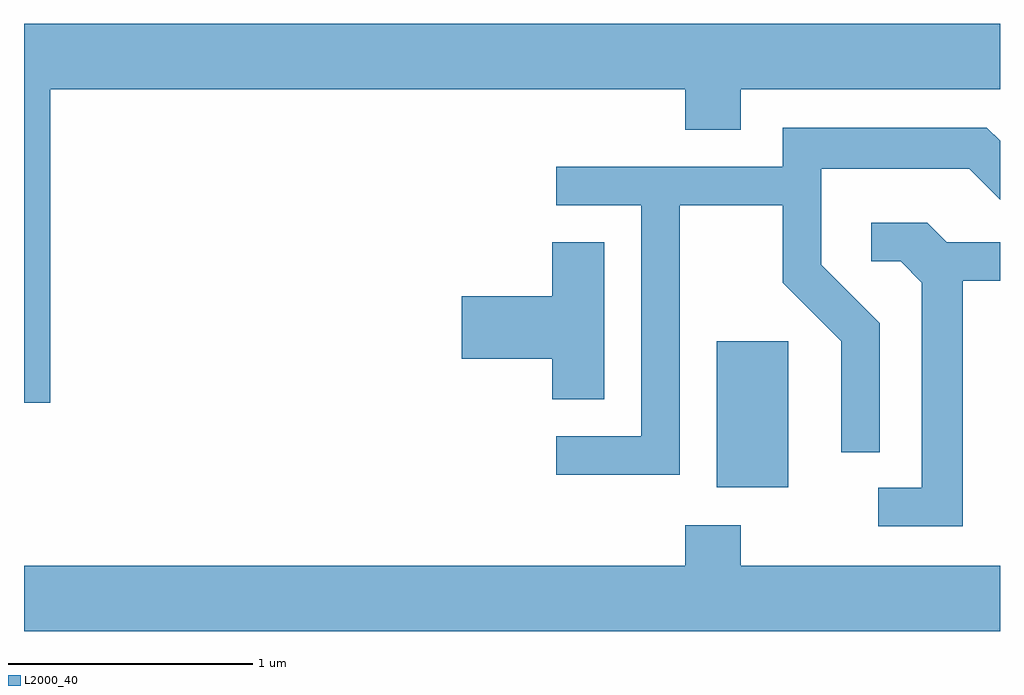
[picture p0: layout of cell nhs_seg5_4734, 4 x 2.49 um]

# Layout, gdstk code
import gdstk
lib = gdstk.Library(unit=1e-6, precision=1e-09)
def R(c, l, rs):  # rectangles x0, y0, x1, y1
    for r in rs: c.add(gdstk.rectangle(r[:2], r[2:], *l))
def P(c, l, *ps):  # polygons
    for p in ps: c.add(gdstk.Polygon(p, *l))
L2000_40 = (2000, 40)

nhs_seg5_4734 = lib.new_cell('nhs_seg5_4734')
R(nhs_seg5_4734, L2000_40, [(328.451,1459.606,328.744,1460.204)])
P(nhs_seg5_4734, L2000_40, [(325.719,1461.236),(328.321,1461.236),(328.321,1461.071),(328.549,1461.071),(328.549,1461.236),(329.611,1461.236),(329.611,1461.504),(325.611,1461.504),(325.611,1459.951),(325.719,1459.951)],
  [(328.299,1460.761),(328.721,1460.761),(328.721,1460.444),(328.961,1460.204),(328.961,1459.748),(329.119,1459.748),(329.119,1460.277),(328.879,1460.517),(328.879,1460.911),(329.484,1460.911),(329.611,1460.784),(329.611,1461.025),(329.557,1461.079),(328.721,1461.079),(328.721,1460.919),(327.793,1460.919),(327.793,1460.761),(328.141,1460.761),(328.141,1459.814),(327.793,1459.814),(327.793,1459.656),(328.299,1459.656)],
  [(329.459,1460.451),(329.611,1460.451),(329.611,1460.609),(329.392,1460.609),(329.312,1460.689),(329.083,1460.689),(329.083,1460.531),(329.204,1460.531),(329.291,1460.444),(329.291,1459.604),(329.113,1459.604),(329.113,1459.446),(329.459,1459.446)],
  [(327.989,1460.609),(327.776,1460.609),(327.776,1460.389),(327.406,1460.389),(327.406,1460.131),(327.776,1460.131),(327.776,1459.966),(327.989,1459.966)],
  [(329.611,1459.284),(328.549,1459.284),(328.549,1459.449),(328.321,1459.449),(328.321,1459.284),(325.611,1459.284),(325.611,1459.016),(329.611,1459.016)])

lib.write_gds('nhs_seg5_4734.gds')
